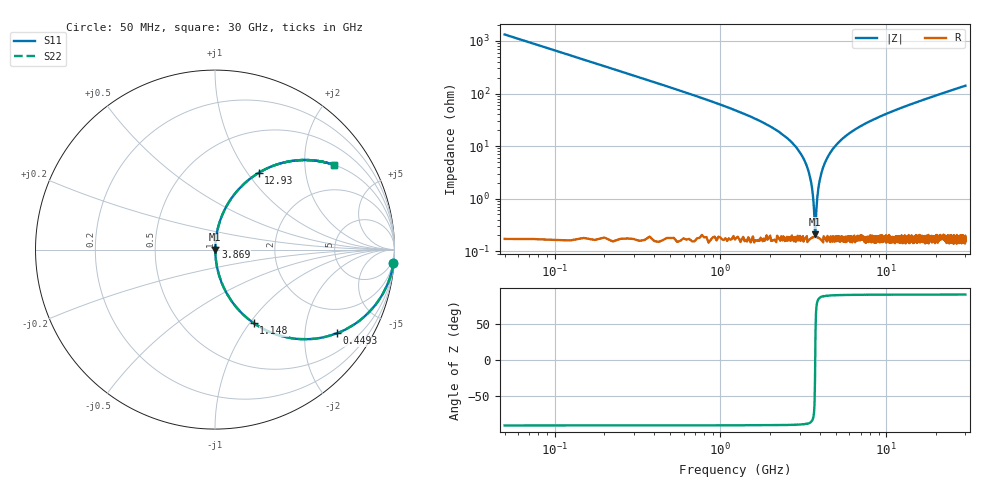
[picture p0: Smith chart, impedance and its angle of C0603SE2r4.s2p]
!	AVX Thin Film Operation 	Date: April 2014
!	Description: Accu-P® Series, Thin Film  SMD RF Capacitor
!	Part Number: 06031J2R4QBSTR
# MHZ S MA R 50
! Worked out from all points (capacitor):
!   1201 points, 50 MHz to 30 GHz, reference 50 ohm
!   read as one part in series: C = 2.4 pF near 199.8 MHz
!   lowest |Z| = 210 mohm at 3.719 GHz (marker M1)
!   series resonance near 3.729 GHz, so ESL is about 760 pH
!   S11 on the Smith chart (normalised r, x): 50 MHz: 1, -27; 449.3 MHz: 1.00, -2.91; 1.148 GHz: 1.00, -1.05; 3.869 GHz: 1.00, +0.03; 12.93 GHz: 1.00, +1.13; 30 GHz: 1.00, +2.82
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50  0.997 -4.3  0.075 85.7  0.075 85.7  0.997 -4.3
274.625  0.923 -22.6  0.384 67.4  0.384 67.4  0.923 -22.6
449.333  0.824 -34.5  0.566 55.4  0.566 55.4  0.824 -34.5
798.75  0.62 -51.5  0.783 38.3  0.783 38.3  0.62 -51.5
1148.167  0.463 -62.3  0.885 27.6  0.885 27.6  0.463 -62.3
1871.958  0.256 -74.8  0.965 14.8  0.965 14.8  0.256 -74.8
3020.042  0.075 -84.4  0.995 4.3  0.995 4.3  0.075 -84.4
3394.417  0.033 -85.1  0.998 1.9  0.998 1.9  0.033 -85.1
3519.208  0.021 -84.0  0.998 1.2  0.998 1.2  0.021 -84.0
3619.042  0.011 -80.2  0.998 0.6  0.998 0.6  0.011 -80.2
3718.875  0.001971 -29.3  0.998 0.1  0.998 0.1  0.001971 -29.3
3868.625  0.013 81.8  0.998 -0.7  0.998 -0.7  0.013 81.8
3993.417  0.024 84.6  0.998 -1.4  0.998 -1.4  0.024 84.6
4218.042  0.044 85.2  0.997 -2.5  0.997 -2.5  0.044 85.2
5041.667  0.108 82.9  0.992 -6.2  0.992 -6.2  0.108 82.9
6913.542  0.227 76.4  0.972 -13.1  0.972 -13.1  0.227 76.4
10058.29  0.382 67.3  0.923 -22.4  0.923 -22.4  0.382 67.3
12928.5  0.491 60.4  0.869 -29.4  0.869 -29.4  0.491 60.4
15025  0.557 56.0  0.829 -33.9  0.829 -33.9  0.557 56.0
20016.67  0.677 47.3  0.735 -42.6  0.735 -42.6  0.677 47.3
25033.29  0.759 40.5  0.65 -49.4  0.65 -49.4  0.759 40.5
30000  0.815 35.3  0.579 -54.6  0.579 -54.6  0.815 35.3
